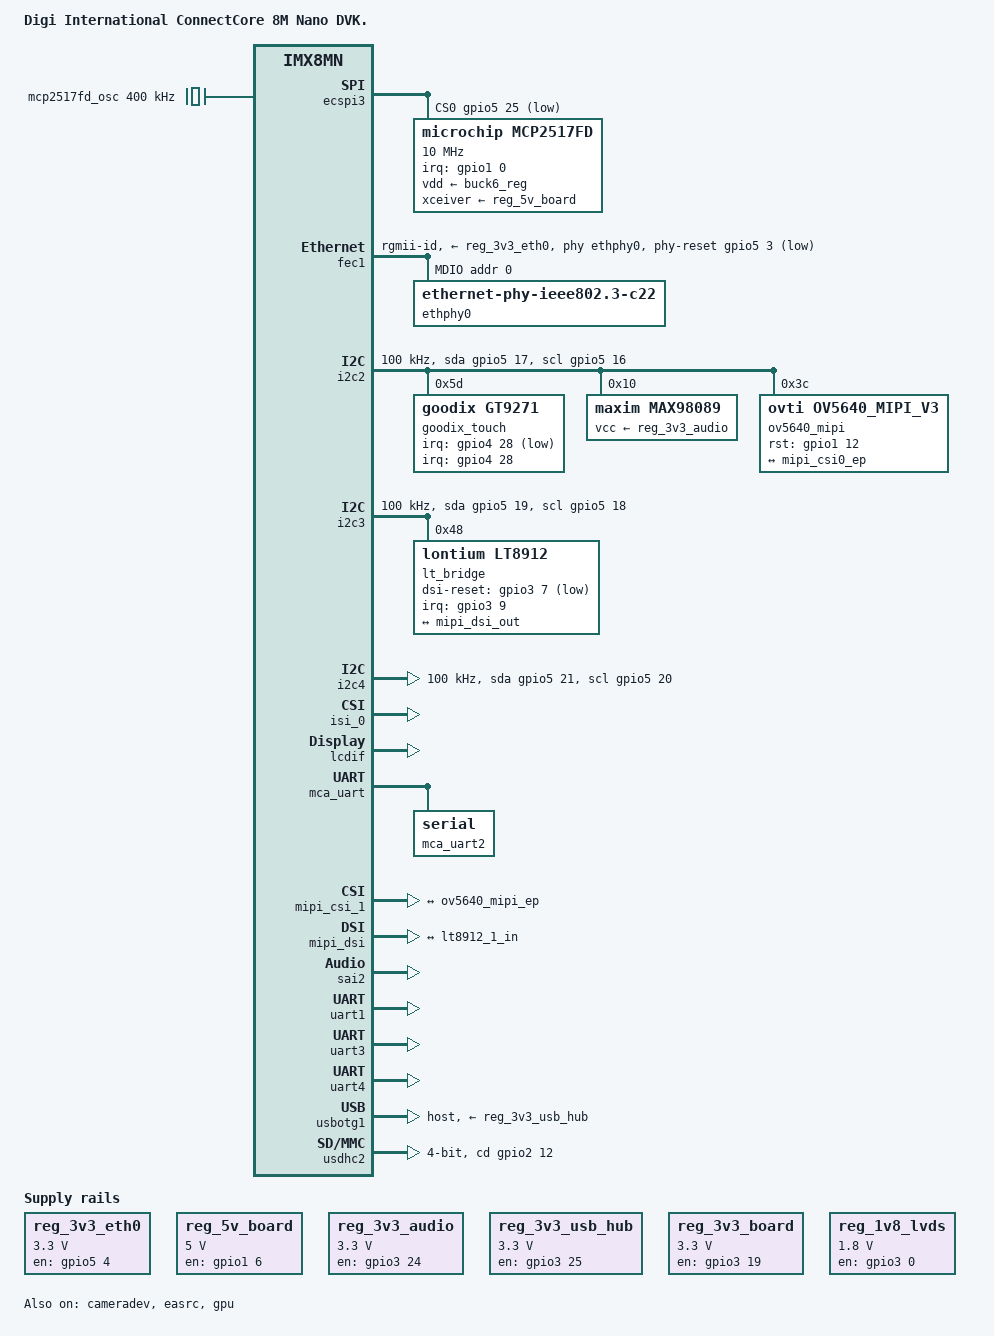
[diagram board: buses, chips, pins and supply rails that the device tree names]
/*
 * Copyright 2019, Digi International Inc.
 *
 * Permission to use, copy, modify, and/or distribute this software for any
 * purpose with or without fee is hereby granted, provided that the above
 * copyright notice and this permission notice appear in all copies.
 * THE SOFTWARE IS PROVIDED "AS IS" AND THE AUTHOR DISCLAIMS ALL WARRANTIES
 * WITH REGARD TO THIS SOFTWARE INCLUDING ALL IMPLIED WARRANTIES OF
 * MERCHANTABILITY AND FITNESS. IN NO EVENT SHALL THE AUTHOR BE LIABLE FOR
 * ANY SPECIAL, DIRECT, INDIRECT, OR CONSEQUENTIAL DAMAGES OR ANY DAMAGES
 * WHATSOEVER RESULTING FROM LOSS OF USE, DATA OR PROFITS, WHETHER IN AN
 * ACTION OF CONTRACT, NEGLIGENCE OR OTHER TORTIOUS ACTION, ARISING OUT OF
 * OR IN CONNECTION WITH THE USE OR PERFORMANCE OF THIS SOFTWARE.
 */

/dts-v1/;

/* i.MX8MN CPU */
#include "../freescale/fsl-imx8mn.dtsi"
/* Digi ConnectCore 8M Nano (non-WiFi variant) */
#include "ccimx8mn.dtsi"

/ {
	model = "Digi International ConnectCore 8M Nano DVK.";
	compatible = "digi,ccimx8mn-dvk", "digi,ccimx8mn", "fsl,imx8mn";
	digi,machine,name = "ccimx8mn-dvk";

	chosen {
		bootargs = "console=ttymxc0,115200 earlycon=ec_imx6q,0x30860000,115200";
		stdout-path = &uart1;
	};

	/* fixed crystal dedicated to mpc2517fd */
	mcp2517fd_osc: mcp2517fd_osc {
		compatible = "fixed-clock";
		#clock-cells = <0>;
		clock-frequency = <400000>;
	};

	regulators {
		compatible = "simple-bus";
		#address-cells = <1>;
		#size-cells = <0>;

		reg_3v3_eth0: regulator@1 {
			compatible = "regulator-fixed";
			reg = <1>;
			pinctrl-names = "default";
			pinctrl-0 = <&pinctrl_reg_3v3_eth0>;
			regulator-name = "3v3_eth0";
			regulator-min-microvolt = <3300000>;
			regulator-max-microvolt = <3300000>;
			gpio = <&gpio5 4 GPIO_ACTIVE_HIGH>;
			enable-active-high;
			startup-delay-us = <10000>;
		};

		reg_5v_board: regulator@2 {
			compatible = "regulator-fixed";
			reg = <2>;
			pinctrl-names = "default";
			pinctrl-0 = <&pinctrl_reg_5v_board>;
			regulator-name = "5v_board";
			regulator-min-microvolt = <5000000>;
			regulator-max-microvolt = <5000000>;
			gpio = <&gpio1 6 GPIO_ACTIVE_HIGH>;
			enable-active-high;
		};

		reg_3v3_audio: regulator@3 {
			compatible = "regulator-fixed";
			reg = <3>;
			pinctrl-names = "default";
			pinctrl-0 = <&pinctrl_reg_3v3_aud>;
			regulator-name = "3v3_audio";
			regulator-min-microvolt = <3300000>;
			regulator-max-microvolt = <3300000>;
			gpio = <&gpio3 24 GPIO_ACTIVE_HIGH>;
			enable-active-high;
			startup-delay-us = <1000>;
		};

		reg_3v3_usb_hub: regulator@4 {
			compatible = "regulator-fixed";
			reg = <4>;
			pinctrl-names = "default";
			pinctrl-0 = <&pinctrl_reg_3v3_usb_hub>;
			regulator-name = "3v3_usb_hub";
			regulator-min-microvolt = <3300000>;
			regulator-max-microvolt = <3300000>;
			gpio = <&gpio3 25 GPIO_ACTIVE_HIGH>;
			enable-active-high;
		};

		reg_3v3_board: regulator@5 {
			compatible = "regulator-fixed";
			reg = <5>;
			pinctrl-names = "default";
			pinctrl-0 = <&pinctrl_reg_3v3_board>;
			regulator-name = "3v3_board";
			regulator-min-microvolt = <3300000>;
			regulator-max-microvolt = <3300000>;
			gpio = <&gpio3 19 GPIO_ACTIVE_HIGH>;
			enable-active-high;
		};

		reg_1v8_lvds: regulator@6 {
			compatible = "regulator-fixed";
			reg = <6>;
			pinctrl-names = "default";
			pinctrl-0 = <&pinctrl_reg_1v8_lvds>;
			regulator-name = "1v8_lvds";
			regulator-min-microvolt = <1800000>;
			regulator-max-microvolt = <1800000>;
			gpio = <&gpio3 0 GPIO_ACTIVE_HIGH>;
			enable-active-high;
		};
	};

	sound_max98089: sound-max98089 {
		compatible = "fsl,imx-audio-max98088";
		model = "imx-max98088";
		cpu-dai = <&sai2>;
		audio-codec = <&max98089>;
		asrc-controller = <&easrc>;
		audio-routing =
			"Headphone Jack", "HPL",
			"Headphone Jack", "HPR",
			"Ext Spk", "SPKL",
			"Ext Spk", "SPKR",
			"LineOut", "RECL",
			"LineOut", "RECR",
			"Mic1", "MIC1",
			"Mic2", "MIC2",
			"LineInA", "INA1",
			"LineInA", "INA2",
			"LineInB", "INB1",
			"LineInB", "INB2";
		status = "okay";
	};
};

&cameradev {
	status = "okay";
};

&easrc {
	fsl,asrc-rate  = <48000>;
	status = "okay";
};

&ecspi3 {
	#address-cells = <1>;
	#size-cells = <0>;
	fsl,spi-num-chipselects = <1>;
	pinctrl-names = "default";
	pinctrl-0 = <&pinctrl_ecspi3 &pinctrl_ecspi3_cs>;
	cs-gpios = <&gpio5 25 GPIO_ACTIVE_LOW>;
	status = "okay";

	mcp2517fd: mcp2517fd@0 {
		reg = <0>;
		compatible = "microchip,mcp2517fd";
		pinctrl-names = "default";
		pinctrl-0 = <&pinctrl_mcp2517fd>;
		spi-max-frequency = <10000000>;
		interrupt-parent = <&gpio1>;
		interrupts = <0 IRQ_TYPE_LEVEL_LOW>;
		clocks = <&mcp2517fd_osc>;
		vdd-supply = <&buck6_reg>;
		xceiver-supply = <&reg_5v_board>;
	};
        
};

&fec1 {
	pinctrl-names = "default";
	pinctrl-0 = <&pinctrl_fec1_gpio>,
		    <&pinctrl_fec1>;
	phy-mode = "rgmii-id";
	phy-handle = <&ethphy0>;
	phy-supply = <&reg_3v3_eth0>;
	phy-reset-gpios = <&gpio5 3 GPIO_ACTIVE_LOW>;
	phy-reset-duration = <1>;
	digi,phy-reset-in-suspend;
	fsl,magic-packet;
	status = "okay";

	mdio {
		#address-cells = <1>;
		#size-cells = <0>;

		ethphy0: ethernet-phy@0 {
			compatible = "ethernet-phy-ieee802.3-c22";
			reg = <0>;
			at803x,eee-disabled;
			at803x,vddio-1p8v;
		};
	};
};

&gpu {
	status = "okay";
};

/*
 * I2C2 connected to Audio codec.
 * Also available on:
 * - LVDS connector
 * - PCIe connector
 * - MIPI Camera connector
 * - Expansion connector
 */
&i2c2 {
	#address-cells = <1>;
	#size-cells = <0>;
	clock-frequency = <100000>;
	pinctrl-names = "default", "gpio";
	pinctrl-0 = <&pinctrl_i2c2>;
	pinctrl-1 = <&pinctrl_i2c2_gpio>;
	scl-gpios = <&gpio5 16 GPIO_ACTIVE_HIGH>;
	sda-gpios = <&gpio5 17 GPIO_ACTIVE_HIGH>;
	status = "okay";

	/*
	 * The max98089 sound codec uses the same I2C address than the fusion touch
	 * controller, so when enabling this node, you need to also disable the
	 * max98089 node.
	 */
	fusion_touch: fusion@10 {
		compatible = "touchrev,fusion-touch";
		reg = <0x10>;
		pinctrl-names = "default";
		pinctrl-0 = <&pinctrl_touch>;
		/* LVDS interrupt */
		interrupt-parent = <&gpio4>;
		interrupts = <28 IRQ_TYPE_EDGE_FALLING>;
		status = "disabled";
	};

	goodix_touch: gt9271@5D {
		compatible = "goodix,gt9271";
		reg = <0x5D>;
		pinctrl-names = "default";
		pinctrl-0 = <&pinctrl_touch>;
		/* LVDS interrupt */
		interrupt-parent = <&gpio4>;
		interrupts = <28 IRQ_TYPE_EDGE_FALLING>;
		irq-gpios = <&gpio4 28 GPIO_ACTIVE_LOW>;
		reload-fw-on-resume;
		skip-firmware-request;
	};

	max98089: codec@10 {
		compatible = "maxim,max98089";
		reg = <0x10>;
		clocks = <&clk IMX8MN_CLK_SAI2>;
		clock-names = "mclk";
		//power-domains = <&pd_mclk_out1>;
		vcc-supply = <&reg_3v3_audio>;
		assigned-clocks = /*<&clk IMX8QXP_AUD_PLL0_DIV>,
				  <&clk IMX8QXP_AUD_ACM_AUD_PLL_CLK0_DIV>,
				  <&clk IMX8QXP_AUD_ACM_AUD_REC_CLK0_DIV>,*/
				  <&clk IMX8MN_CLK_SAI2>;
		assigned-clock-rates = <786432000>, <49152000>, <12288000>, <12288000>;
	};

	/* MIPI-CSI camera */
	ov5640_mipi: ov5640_mipi@3c {
		compatible = "ovti,ov5640_mipi_v3";
		reg = <0x3c>;
		pinctrl-names = "default";
		pinctrl-0 = <&pinctrl_mipi>;
		clocks = <&clk IMX8MN_CLK_CLKO1>;
		clock-names = "csi_mclk";
		csi_id = <0>;
		rst-gpios = <&gpio1 12 GPIO_ACTIVE_HIGH>;
		mclk = <24000000>;
		mclk_source = <0>;
		mipi_csi;

		port {
			ov5640_mipi_ep: endpoint {
				remote-endpoint = <&mipi_csi0_ep>;
			};
		};
	};
};

/*
 * I2C3 connected to LT8912 MIPI-to-HDMI bridge and SN65DSI83 MIPI-to-LVDS bridge.
 * Also available on the HDMI connector.
 */
&i2c3 {
	clock-frequency = <100000>;
	pinctrl-names = "default", "gpio";
	pinctrl-0 = <&pinctrl_i2c3>;
	pinctrl-1 = <&pinctrl_i2c3_gpio>;
	scl-gpios = <&gpio5 18 GPIO_ACTIVE_HIGH>;
	sda-gpios = <&gpio5 19 GPIO_ACTIVE_HIGH>;
	status = "okay";

	lt_bridge: lt8912@48 {
		compatible = "lontium,lt8912";
		reg = <0x48>;
		pinctrl-names = "default";
		pinctrl-0 = <&pinctrl_lt8912>;
		digi,dsi-reset = <&gpio3 7 GPIO_ACTIVE_LOW>;
		irq-gpios = <&gpio3 9 GPIO_ACTIVE_HIGH>;
		digi,dsi-lanes = <4>;
		status = "okay";

		port {
			lt8912_1_in: endpoint {
				/* add lanes */
				remote-endpoint = <&mipi_dsi_out>;
			};
		};
	};
};

/* Expansion I2C port bus */
&i2c4 {
	clock-frequency = <100000>;
	pinctrl-names = "default", "gpio";
	pinctrl-0 = <&pinctrl_i2c4>;
	pinctrl-1 = <&pinctrl_i2c4_gpio>;
	scl-gpios = <&gpio5 20 GPIO_ACTIVE_HIGH>;
	sda-gpios = <&gpio5 21 GPIO_ACTIVE_HIGH>;
	status = "okay";
};

&isi_0 {
	status = "okay";
};

&lcdif {
	status = "okay";
};

/*
 * Uncomment to enable MCA ADC channels on Expansion connector:
 *  - MCA_IO14 (channel 14)
 * Edit adc-ch-list to include the ADC channels that you want to enable.
 */
// &mca_adc {
//	digi,adc-ch-list = <14>;
//	digi,adc-vref = <3000000>;
// };

/*
 * Uncomment to Enable Tamper detection. There are 2 digital (0 and 1) and 2
 * analog (2 and 3) tamper interfaces.
 */
//&mca_tamper {
//	digi,tamper-if-list = <0 1 2 3>;
//};

&mca_uart {
	status = "okay";

	/* Uncomment to enable MCA UART0. Assign the IO pins (see bindings) */
//	mca_uart0: serial@0x900 {
//		iopins-names = "rx", "tx";
//		iopins = <9 10>;
//	};

	/* Uncomment to enable MCA UART1. Assign the IO pins (see bindings) */
//	mca_uart1: serial@0x920 {
//		iopins-names = "rx", "tx";
//		iopins = <11 16>;
//	};

	/* UART connected to XBee Cellular socket */
	mca_uart2: serial@0x940 {
		iopins-names = "rx", "tx", "cts", "rts";
		iopins = <2 1 3 4>;
	};
};
&mipi_csi_1 {
	#address-cells = <1>;
	#size-cells = <0>;
	status = "okay";

	/* Camera 0  MIPI CSI-2 (CSIS0) */
	port@0 {
		reg = <0>;
		mipi_csi0_ep: endpoint {
			remote-endpoint = <&ov5640_mipi_ep>;
			data-lanes = <1 2>;
		};
	};
};

&mipi_dsi {
	status = "okay";

	port@1 {
		mipi_dsi_out: endpoint {
			remote-endpoint = <&lt8912_1_in>;
		};
	};
};

&sai2 {
	assigned-clocks = /*<&clk IMX8QXP_AUD_PLL0_DIV>,
			  <&clk IMX8QXP_AUD_ACM_AUD_PLL_CLK0_DIV>,
			  <&clk IMX8QXP_AUD_ACM_AUD_REC_CLK0_DIV>,*/
			  <&clk IMX8MN_CLK_SAI2_ROOT>;
	assigned-clock-rates = <786432000>, <49152000>, <12288000>, <49152000>;
	pinctrl-names = "default";
	pinctrl-0 = <&pinctrl_sai2>;
	status = "okay";
};

/* Console */
&uart1 {
	pinctrl-names = "default";
	pinctrl-0 = <&pinctrl_uart1>;
	status = "okay";
};

/* Expansion port/RS485 UART */
&uart3 {
	pinctrl-names = "default";
	/* Comment these lines when using this UART in RS485 mode */
	pinctrl-0 = <&pinctrl_uart3>;
	fsl,uart-has-rtscts;
	/* Uncomment these lines to use this UART in RS485 mode */
	//pinctrl-0 = <&pinctrl_uart3_rs485>;
	//linux,rs485-enabled-at-boot-time;
	assigned-clocks = <&clk IMX8MN_CLK_UART3>;
	assigned-clock-parents = <&clk IMX8MN_SYS_PLL1_80M>;
	status = "okay";
};

/* XBee 2 UART */
&uart4 {
	pinctrl-names = "default";
	pinctrl-0 = <&pinctrl_uart4>, <&pinctrl_xbee2_gpios>;
	assigned-clocks = <&clk IMX8MN_CLK_UART4>;
	assigned-clock-parents = <&clk IMX8MN_SYS_PLL1_80M>;
	fsl,uart-has-rtscts;
	status = "okay";
};

/* USB_OTG1 connected to usb hub */
&usbotg1 {
	pinctrl-names = "default";
	pinctrl-0 = <&pinctrl_usbotg1>;

	vbus-supply = <&reg_3v3_usb_hub>;
	fsl,reset-gpio = <&gpio5 10 GPIO_ACTIVE_LOW>;
	dr_mode = "host";
	disable-over-current;
	status = "okay";
};

/* Micro SD card */
&usdhc2 {
	pinctrl-names = "default", "state_100mhz", "state_200mhz";
	pinctrl-0 = <&pinctrl_usdhc2>, <&pinctrl_usdhc2_gpio>;
	pinctrl-1 = <&pinctrl_usdhc2_100mhz>, <&pinctrl_usdhc2_gpio>;
	pinctrl-2 = <&pinctrl_usdhc2_200mhz>, <&pinctrl_usdhc2_gpio>;
	bus-width = <4>;
	no-1-8-v;
	cd-gpios = <&gpio2 12 GPIO_ACTIVE_HIGH>;
	status = "okay";
};

&A53_0 {
	operating-points = <
		/* kHz    uV */
		1500000 1000000
		1400000 950000
		1200000 950000
	>;
	arm-supply = <&buck2_reg>;
};

/* IOMUX */
&iomuxc {
	pinctrl-names = "default";
	pinctrl-0 = <&pinctrl_hog>;

	pinctrl_hog: hoggrp {
		fsl,pins = <
			/* GPIO1_IO11 on expansion connector */
			MX8MN_IOMUXC_GPIO1_IO11_GPIO1_IO11	0x16
			/* GPIO1_IO13 on expansion connector */
			MX8MN_IOMUXC_GPIO1_IO13_GPIO1_IO13	0x16
			/* User LED 3 */
			MX8MN_IOMUXC_SD2_RESET_B_GPIO2_IO19	0x16
			/* User button 2 */
			MX8MN_IOMUXC_SD2_WP_GPIO2_IO20	0x16
			/*
			 * Expansion I2C port IRQ.
			 * Remove if you plan on using this line for a device
			 * connected to the expansion I2C port.
			 */
			MX8MN_IOMUXC_UART3_TXD_GPIO5_IO27	0x16
			/*
			 * Expansion I2C port GPIO.
			 * Remove if you plan on using this line for a device
			 * connected to the expansion I2C port.
			 */
			MX8MN_IOMUXC_UART3_RXD_GPIO5_IO26	0x16
		>;
	};

	pinctrl_ecspi3: ecspi3grp {
		fsl,pins = <
			MX8MN_IOMUXC_UART1_RXD_ECSPI3_SCLK		0x82
			MX8MN_IOMUXC_UART1_TXD_ECSPI3_MOSI		0x82
			MX8MN_IOMUXC_UART2_RXD_ECSPI3_MISO		0x82
		>;
	};

	pinctrl_ecspi3_cs: ecspi3cs {
		fsl,pins = <
			MX8MN_IOMUXC_UART2_TXD_GPIO5_IO25		0x40000
		>;
	};

	pinctrl_fec1_gpio: fec1gpiogrp {
		fsl,pins = <
			/* PHY reset */
			MX8MN_IOMUXC_SPDIF_TX_GPIO5_IO3		0x19
			/* PHY interrupt */
			MX8MN_IOMUXC_SAI3_MCLK_GPIO5_IO2	0x19
		>;
	};

	pinctrl_fec1: fec1grp {
		fsl,pins = <
			MX8MN_IOMUXC_ENET_MDC_ENET1_MDC		0x3
			MX8MN_IOMUXC_ENET_MDIO_ENET1_MDIO	0x3
			MX8MN_IOMUXC_ENET_TD3_ENET1_RGMII_TD3	0x1f
			MX8MN_IOMUXC_ENET_TD2_ENET1_RGMII_TD2	0x1f
			MX8MN_IOMUXC_ENET_TD1_ENET1_RGMII_TD1	0x1f
			MX8MN_IOMUXC_ENET_TD0_ENET1_RGMII_TD0	0x1f
			MX8MN_IOMUXC_ENET_RD3_ENET1_RGMII_RD3	0x91
			MX8MN_IOMUXC_ENET_RD2_ENET1_RGMII_RD2	0x91
			MX8MN_IOMUXC_ENET_RD1_ENET1_RGMII_RD1	0x91
			MX8MN_IOMUXC_ENET_RD0_ENET1_RGMII_RD0	0x91
			MX8MN_IOMUXC_ENET_TXC_ENET1_RGMII_TXC	0x1f
			MX8MN_IOMUXC_ENET_RXC_ENET1_RGMII_RXC	0x91
			MX8MN_IOMUXC_ENET_RX_CTL_ENET1_RGMII_RX_CTL	0x91
			MX8MN_IOMUXC_ENET_TX_CTL_ENET1_RGMII_TX_CTL	0x1f
		>;
	};

	pinctrl_i2c2: i2c2grp {
		fsl,pins = <
			MX8MN_IOMUXC_I2C2_SCL_I2C2_SCL			0x400001c3
			MX8MN_IOMUXC_I2C2_SDA_I2C2_SDA			0x400001c3
		>;
	};

	pinctrl_i2c2_gpio: i2c2grp-gpio {
		fsl,pins = <
			MX8MN_IOMUXC_I2C2_SCL_GPIO5_IO16		0x1c3
			MX8MN_IOMUXC_I2C2_SDA_GPIO5_IO17		0x1c3
		>;
	};

	pinctrl_i2c3: i2c3grp {
		fsl,pins = <
			MX8MN_IOMUXC_I2C3_SCL_I2C3_SCL			0x400001c3
			MX8MN_IOMUXC_I2C3_SDA_I2C3_SDA			0x400001c3
		>;
	};

	pinctrl_i2c3_gpio: i2c3grp-gpio {
		fsl,pins = <
			MX8MN_IOMUXC_I2C3_SCL_GPIO5_IO18		0x1c3
			MX8MN_IOMUXC_I2C3_SDA_GPIO5_IO19		0x1c3
		>;
	};

	pinctrl_i2c4: i2c4grp {
		fsl,pins = <
			MX8MN_IOMUXC_I2C4_SCL_I2C4_SCL			0x400001c3
			MX8MN_IOMUXC_I2C4_SDA_I2C4_SDA			0x400001c3
		>;
	};

	pinctrl_i2c4_gpio: i2c4grp-gpio {
		fsl,pins = <
			MX8MN_IOMUXC_I2C4_SCL_GPIO5_IO20		0x1c3
			MX8MN_IOMUXC_I2C4_SDA_GPIO5_IO21		0x1c3
		>;
	};

	pinctrl_lt8912: lt8912grp {
		fsl,pins = <
			/* Reset */
			MX8MN_IOMUXC_NAND_DATA01_GPIO3_IO7	0x19
			/* Interrupt */
			MX8MN_IOMUXC_NAND_DATA03_GPIO3_IO9	0x19
		>;
	};

	pinctrl_mcp2517fd: mcp2517fdgrp {
		fsl,pins = <
			MX8MN_IOMUXC_GPIO1_IO00_GPIO1_IO0 0x19
		>;
	};

	pinctrl_mipi: mipi {
		fsl,pins = <
			/* MIPI_CSI_RESET_N */
			MX8MN_IOMUXC_GPIO1_IO12_GPIO1_IO12 0x19
		>;
	};

	/* Ethernet PHYs regulator */
	pinctrl_reg_3v3_eth0: pinctrl_reg_3v3_eth0grp {
		fsl,pins = <
			/* PHY power */
			MX8MN_IOMUXC_SPDIF_RX_GPIO5_IO4		0x41
		>;
	};

	pinctrl_reg_5v_board: reg_5v_board_grp {
		fsl,pins = <
			/* 5V regulator power enable */
			MX8MN_IOMUXC_GPIO1_IO06_GPIO1_IO6		0x41
		>;
	};

	pinctrl_reg_3v3_aud: reg_3v3_aud_grp {
		fsl,pins = <
			/* Audio power enable */
			MX8MN_IOMUXC_SAI5_RXD3_GPIO3_IO24		0x41
		>;
	};

	pinctrl_reg_3v3_usb_hub: reg_3v3_usb_hub_grp {
		fsl,pins = <
			/* GPIO3_25 USB hub power enable */
			MX8MN_IOMUXC_SAI5_MCLK_GPIO3_IO25		0x41
		>;
	};

	pinctrl_reg_3v3_board: reg_3v3_board_grp {
		fsl,pins = <
			/* GPIO3_19 board regulator enable */
			MX8MN_IOMUXC_SAI5_RXFS_GPIO3_IO19		0x41
		>;
	};

	pinctrl_reg_1v8_lvds: pinctrl_reg_1v8_lvdsgrp {
		fsl,pins = <
			/* SN65DSI83 enable */
			MX8MN_IOMUXC_NAND_ALE_GPIO3_IO0		0x41
		>;
	};

	pinctrl_sai2: sai2grp {
		fsl,pins = <
			MX8MN_IOMUXC_SAI2_RXD0_SAI2_RX_DATA0	0xd6
			MX8MN_IOMUXC_SAI2_TXD0_SAI2_TX_DATA0	0xd6
			MX8MN_IOMUXC_SAI2_TXFS_SAI2_TX_SYNC		0xd6
			MX8MN_IOMUXC_SAI2_TXC_SAI2_TX_BCLK		0xd6
			MX8MN_IOMUXC_SAI2_MCLK_SAI2_MCLK		0xd6
		>;
	};

	pinctrl_touch: touchgrp {
		fsl,pins = <
			/* LVDS touch interrupt */
			MX8MN_IOMUXC_SAI3_RXFS_GPIO4_IO28	0x19
		>;
	};

	pinctrl_uart1: uart1grp {
		fsl,pins = <
			MX8MN_IOMUXC_SAI2_RXC_UART1_DCE_RX	0x140
			MX8MN_IOMUXC_SAI2_RXFS_UART1_DCE_TX	0x140
		>;
	};

	pinctrl_uart3: uart3grp {
		fsl,pins = <
			MX8MN_IOMUXC_ECSPI1_SCLK_UART3_DCE_RX		0x140
			MX8MN_IOMUXC_ECSPI1_MOSI_UART3_DCE_TX		0x140
			MX8MN_IOMUXC_ECSPI1_SS0_UART3_DCE_RTS_B		0x140
			MX8MN_IOMUXC_ECSPI1_MISO_UART3_DCE_CTS_B	0x140
		>;
	};

	pinctrl_uart3_rs485: uart3_rs485grp {
		fsl,pins = <
			MX8MN_IOMUXC_ECSPI1_SCLK_UART3_DCE_RX		0x140
			MX8MN_IOMUXC_ECSPI1_MOSI_UART3_DCE_TX		0x140
			/* RS485 RE#/DE line */
			MX8MN_IOMUXC_GPIO1_IO03_GPIO1_IO3		0x16
		>;
	};

	pinctrl_uart4: uart4grp {
		fsl,pins = <
			MX8MN_IOMUXC_UART4_RXD_UART4_DCE_RX		0x140
			MX8MN_IOMUXC_UART4_TXD_UART4_DCE_TX		0x140
			MX8MN_IOMUXC_ECSPI2_SS0_UART4_DCE_RTS_B		0x140
			MX8MN_IOMUXC_ECSPI2_MISO_UART4_DCE_CTS_B	0x140
		>;
	};

	pinctrl_usbotg1: usbotg1grp {
		fsl,pins = <
			/* USB hub reset */
			MX8MN_IOMUXC_ECSPI2_SCLK_GPIO5_IO10		0x16
		>;
	};

	pinctrl_usdhc2_gpio: usdhc2gpiogrp {
		fsl,pins = <
			/* Card detect */
			MX8MN_IOMUXC_SD2_CD_B_GPIO2_IO12	0x1c4
			/* MUX_VSELECT */
			MX8MN_IOMUXC_SAI3_TXD_GPIO5_IO1		0x1c4
		>;
	};

	pinctrl_usdhc2: usdhc2grp {
		fsl,pins = <
			MX8MN_IOMUXC_SD2_CLK_USDHC2_CLK		0x190
			MX8MN_IOMUXC_SD2_CMD_USDHC2_CMD		0x1d0
			MX8MN_IOMUXC_SD2_DATA0_USDHC2_DATA0	0x1d0
			MX8MN_IOMUXC_SD2_DATA1_USDHC2_DATA1	0x1d0
			MX8MN_IOMUXC_SD2_DATA2_USDHC2_DATA2	0x1d0
			MX8MN_IOMUXC_SD2_DATA3_USDHC2_DATA3	0x1d0
		>;
	};

	pinctrl_usdhc2_100mhz: usdhc2grp100mhz {
		fsl,pins = <
			MX8MN_IOMUXC_SD2_CLK_USDHC2_CLK		0x194
			MX8MN_IOMUXC_SD2_CMD_USDHC2_CMD		0x1d4
			MX8MN_IOMUXC_SD2_DATA0_USDHC2_DATA0	0x1d4
			MX8MN_IOMUXC_SD2_DATA1_USDHC2_DATA1	0x1d4
			MX8MN_IOMUXC_SD2_DATA2_USDHC2_DATA2	0x1d4
			MX8MN_IOMUXC_SD2_DATA3_USDHC2_DATA3	0x1d4
		>;
	};

	pinctrl_usdhc2_200mhz: usdhc2grp200mhz {
		fsl,pins = <
			MX8MN_IOMUXC_SD2_CLK_USDHC2_CLK		0x196
			MX8MN_IOMUXC_SD2_CMD_USDHC2_CMD		0x1d6
			MX8MN_IOMUXC_SD2_DATA0_USDHC2_DATA0	0x1d6
			MX8MN_IOMUXC_SD2_DATA1_USDHC2_DATA1	0x1d6
			MX8MN_IOMUXC_SD2_DATA2_USDHC2_DATA2	0x1d6
			MX8MN_IOMUXC_SD2_DATA3_USDHC2_DATA3	0x1d6
		>;
	};

	pinctrl_xbee2_gpios: xbee2grp {
		fsl,pins = <
			/* XBEE_RESET_N */
			MX8MN_IOMUXC_GPIO1_IO08_GPIO1_IO8	0x16
			/* XBEE_ON/SLEEP_N */
			MX8MN_IOMUXC_GPIO1_IO09_GPIO1_IO9	0x16
			/* XBEE_SLEEP_RQ */
			MX8MN_IOMUXC_GPIO1_IO07_GPIO1_IO7	0x16
		>;
	};
};
